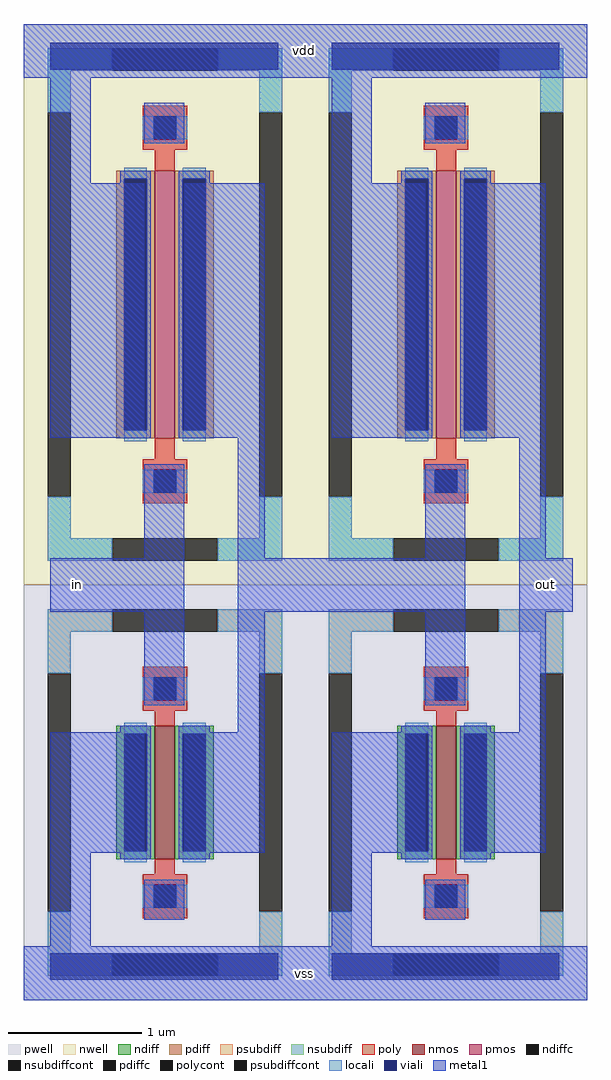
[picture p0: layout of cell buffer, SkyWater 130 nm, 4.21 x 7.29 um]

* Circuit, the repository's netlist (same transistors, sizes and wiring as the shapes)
* NGSPICE file created from buffer_lvs.ext - technology: sky130A

.subckt sky130_fd_pr__nfet_01v8_MH3LLV B D S G
X0 S G D B sky130_fd_pr__nfet_01v8 ad=0.29 pd=2.58 as=0.29 ps=2.58 w=1 l=0.15
.ends

.subckt sky130_fd_pr__pfet_01v8_A6MZLZ B D S G
X0 S G D B sky130_fd_pr__pfet_01v8 ad=0.58 pd=4.58 as=0.58 ps=4.58 w=2 l=0.15
.ends

.subckt inv vin vout vdd vss
XXMn vss vss vout vin sky130_fd_pr__nfet_01v8_MH3LLV
XXMp vdd vdd vout vin sky130_fd_pr__pfet_01v8_A6MZLZ
.ends

.subckt buffer_lvs in out vdd vss
Xinv_0 in inv_1/vin vdd vss inv
Xinv_1 inv_1/vin out vdd vss inv
.ends

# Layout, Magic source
magic
tech sky130A
<< metal1 >>
rect -110 699 311 739
rect -90 300 -50 340
rect 80 300 120 340
rect 260 300 300 340
rect -110 10 311 50
use inv  inv_0
transform 1 0 -100 0 1 30
box -10 -20 201 709
use inv  inv_1
transform 1 0 110 0 1 30
box -10 -20 201 709
<< labels >>
flabel metal1 -90 300 -50 340 0 FreeSans 600 0 0 0 in
port 0 nsew
flabel metal1 260 300 300 340 0 FreeSans 600 0 0 0 out
port 1 nsew
flabel metal1 -110 700 310 739 0 FreeSans 600 0 0 0 vdd
port 2 nsew
flabel metal1 -110 10 310 50 0 FreeSans 600 0 0 0 vss
port 3 nsew
<< end >>

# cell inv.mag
magic
tech sky130A
magscale 1 2
<< viali >>
rect 20 1350 360 1390
rect 20 -10 360 30
<< metal1 >>
rect -20 1390 402 1418
rect -20 1350 20 1390
rect 360 1350 402 1390
rect -20 1338 402 1350
rect 20 1180 80 1338
rect 160 1240 220 1300
rect 20 800 160 1180
rect 220 800 340 1180
rect 160 620 220 760
rect 20 540 220 620
rect 160 400 220 540
rect 300 620 340 800
rect 300 540 360 620
rect 300 360 340 540
rect 20 180 160 360
rect 220 180 340 360
rect 20 40 80 180
rect 160 80 220 140
rect -20 30 402 40
rect -20 -10 20 30
rect 360 -10 402 30
rect -20 -40 402 -10
use sky130_fd_pr__nfet_01v8_MH3LLV  XMn
transform 1 0 191 0 1 270
box -211 -310 211 310
use sky130_fd_pr__pfet_01v8_A6MZLZ  XMp
transform 1 0 191 0 1 999
box -211 -419 211 419
<< labels >>
flabel metal1 20 540 220 620 0 FreeSans 640 0 0 0 vin
port 0 nsew
flabel metal1 300 540 360 620 0 FreeSans 480 0 0 0 vout
port 1 nsew
flabel metal1 -20 1340 20 1418 0 FreeSans 800 0 0 0 vdd
port 2 nsew
flabel metal1 -20 -40 400 40 0 FreeSans 800 0 0 0 vss
port 3 nsew
<< end >>

# cell sky130_fd_pr__nfet_01v8_MH3LLV: kit device sky130_fd_pr__nfet_01v8, w 1.0 l 0.15 m 1 nf 1 diffcov 100 polycov 100 guard 1 glc 1 grc 1 gtc 1 gbc 1 tbcov 100 rlcov 100 topc 1 botc 1 poverlap 0 doverlap 1 lmin 0.15 wmin 0.42 class mosfet compatible {sky130_fd_pr__nfet_01v8 sky130_fd_pr__nfet_01v8_lvt sky130_fd_bs_flash__special_sonosfet_star sky130_fd_pr__nfet_g5v0d10v5 sky130_fd_pr__nfet_05v0_nvt sky130_fd_pr__nfet_03v3_nvt} full_metal 1 conn_gates 0 viasrc 100 viadrn 100 viagate 100 viagb 0 viagr 0 viagl 0 viagt 0 doports 1 ad 0.29 as 0.29 pd 2.58 ps 2.58 nrd 0.29 nrs 0.29 sa 0 sb 0 sd 0 mult 1

# cell sky130_fd_pr__pfet_01v8_A6MZLZ: kit device sky130_fd_pr__pfet_01v8, w 2.0 l 0.15 m 1 nf 1 diffcov 100 polycov 100 guard 1 glc 1 grc 1 gtc 1 gbc 1 tbcov 100 rlcov 100 topc 1 botc 1 poverlap 0 doverlap 1 lmin 0.15 wmin 0.42 class mosfet compatible {sky130_fd_pr__pfet_01v8 sky130_fd_pr__pfet_01v8_lvt sky130_fd_pr__pfet_01v8_hvt sky130_fd_pr__pfet_g5v0d10v5} full_metal 1 conn_gates 0 viasrc 100 viadrn 100 viagate 100 viagb 0 viagr 0 viagl 0 viagt 0 doports 1 ad 0.58 as 0.58 pd 4.58 ps 4.58 nrd 0.145 nrs 0.145 sa 0 sb 0 sd 0 mult 1
